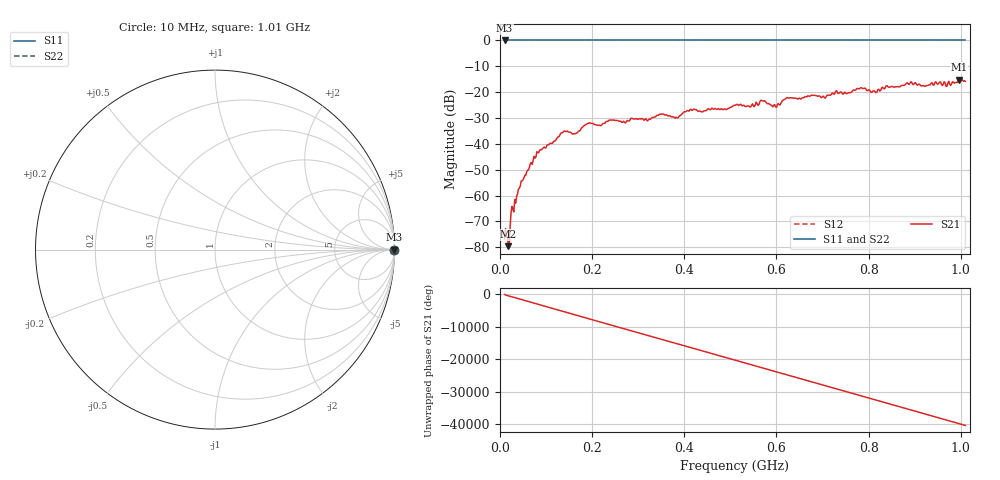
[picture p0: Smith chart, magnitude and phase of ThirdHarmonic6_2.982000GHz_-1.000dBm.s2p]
! 8/17/2025 8:28:31 AM
! C:\ANRITSUVNA\TEMP\TEMP.S2P
! CHANNEL.1
! TR.MEASUREMENT
! RAW.DATA
! RF.CORRECTION.OFF
! AVERAGING.OFF
! IF.BANDWIDTH: 5KHZ
! SWEEPTYPE:  FREQ.SWEEP(Linear)
! Reference Plane Port Info
! PORT:  PORT1  PORT2
! DISTANCE:  0  m  0  m
! TIME:  0  s  0  s
! PHASE.OFFSET:  0  deg.  0  deg.
! LOSS:  0  dB  0  dB
! REF.LOSS:  0  dB  0  dB
! REF.FREQ:  0  Hz  0  Hz
! Power Info
! POWER:  -20  dBm  -20  dBm
! EFF.POWER:  -20  dBm  -20  dBm
! SOURCE.ATTEN:  0  dB  0  dB
! TEST.ATTEN:  0  dB  0  dB
# GHZ S RI R 50.0
! FREQ.GHZ  S11RE  S11IM  S21RE  S21IM  S12RE  S12IM  S22RE  S22IM
!; PortSelection: Port_12
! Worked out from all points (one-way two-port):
!   501 points, 10 MHz to 1.01 GHz, reference 50 ohm
!   highest |S21| = -15.12 dB at 996 MHz (marker M1); lowest = -79.6 dB at 18 MHz (marker M2)
!   lowest |S11| = 0.0 dB at 10 MHz (marker M3)
!   |S11| at or under -10 dB: nowhere
!   |S22| runs from 0.0 to 0.0 dB; largest |S21 - S12| = 1.2
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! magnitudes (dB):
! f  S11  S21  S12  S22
! 10 MHz  0.0  -76.7  0.0  0.0
! 18 MHz  0.0  -79.6  0.0  0.0
! 28 MHz  0.0  -65.2  0.0  0.0
! 42 MHz  0.0  -57.0  0.0  0.0
! 78 MHz  0.0  -45.0  0.0  0.0
! 136 MHz  0.0  -35.7  0.0  0.0
! 162 MHz  0.0  -36.1  0.0  0.0
! 178 MHz  0.0  -33.7  0.0  0.0
! 192 MHz  0.0  -32.0  0.0  0.0
! 322 MHz  0.0  -30.7  0.0  0.0
! 344 MHz  0.0  -28.9  0.0  0.0
! 382 MHz  0.0  -29.7  0.0  0.0
! 410 MHz  0.0  -27.3  0.0  0.0
! 510 MHz  0.0  -25.1  0.0  0.0
! 540 MHz  0.0  -25.3  0.0  0.0
! 570 MHz  0.0  -23.4  0.0  0.0
! 596 MHz  0.0  -24.8  0.0  0.0
! 624 MHz  0.0  -22.1  0.0  0.0
! 678 MHz  0.0  -21.2  0.0  0.0
! 844 MHz  0.0  -18.1  0.0  0.0
! 996 MHz  0.0  -15.1  0.0  0.0
! 1.01 GHz  0.0  -15.9  0.0  0.0
